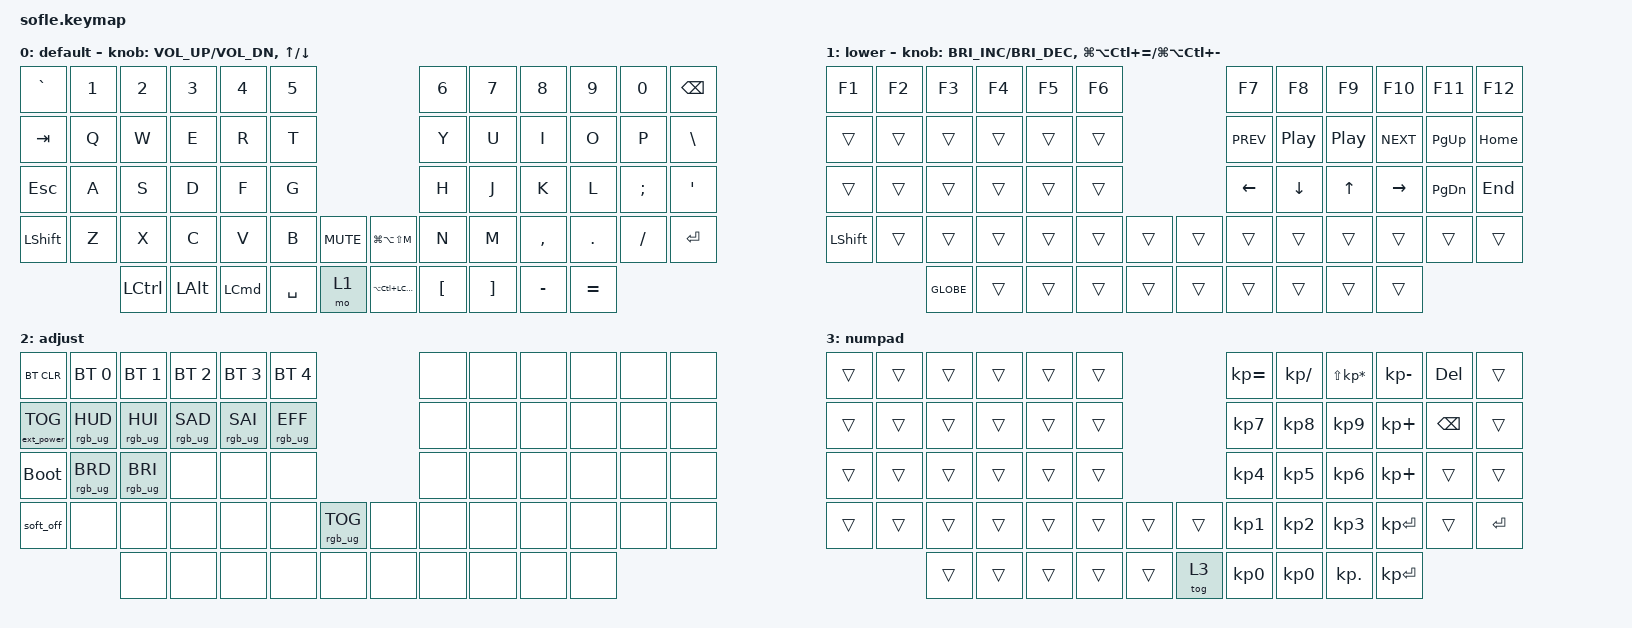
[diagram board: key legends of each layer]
/*
 * Copyright (c) 2020 The ZMK Contributors
 *
 * SPDX-License-Identifier: MIT
 */

#include <behaviors.dtsi>
#include <dt-bindings/zmk/bt.h>
#include <dt-bindings/zmk/ext_power.h>
#include <dt-bindings/zmk/keys.h>
#include <dt-bindings/zmk/rgb.h>

#define BASE 0
#define LOWER 1
#define RAISE 2
#define ADJUST 3

/ {
    // Activate ADJUST layer by pressing raise and lower

    conditional_layers { compatible = "zmk,conditional-layers"; };

    combos {
        compatible = "zmk,combos";

        adjust_layer {
            bindings = <&mo 2>;
            key-positions = <54 55>;
            layers = <0>;
        };

        numpad {
            bindings = <&tog 3>;
            key-positions = <55 10>;
        };
    };

    keymap {
        compatible = "zmk,keymap";

        default_layer {
            display-name = "default";

            // ------------------------------------------------------------------------------------------------------------
            // |   `   |  1  |  2  |  3   |  4   |  5   |                   |  6   |  7    |  8    |  9   |   0   |       |
            // |  ESC  |  Q  |  W  |  E   |  R   |  T   |                   |  Y   |  U    |  I    |  O   |   P   | BKSPC |
            // |  TAB  |  A  |  S  |  D   |  F   |  G   |                   |  H   |  J    |  K    |  L   |   ;   |   '   |
            // | SHIFT |  Z  |  X  |  C   |  V   |  B   |  MUTE  |  |       |  N   |  M    |  ,    |  .   |   /   | SHIFT |
            //               | GUI | ALT  | CTRL | LOWER|  ENTER |  | SPACE | RAISE| CTRL  | ALT   | GUI  |

            bindings = <
&kp GRAVE   &kp N1  &kp N2     &kp N3        &kp N4            &kp N5                                             &kp N6            &kp N7             &kp N8     &kp N9     &kp N0    &kp BACKSPACE
&kp TAB     &kp Q   &kp W      &kp E         &kp R             &kp T                                              &kp Y             &kp U              &kp I      &kp O      &kp P     &kp BACKSLASH
&kp ESCAPE  &kp A   &kp S      &kp D         &kp F             &kp G                                              &kp H             &kp J              &kp K      &kp L      &kp SEMI  &kp SQT
&kp LSHFT   &kp Z   &kp X      &kp C         &kp V             &kp B      &kp C_MUTE    &kp LG(LA(LS(M)))         &kp N             &kp M              &kp COMMA  &kp DOT    &kp FSLH  &kp RET
                    &kp LCTRL  &kp LEFT_ALT  &kp LEFT_COMMAND  &kp SPACE  &mo 1         &kp LA(LC(LEFT_COMMAND))  &kp LEFT_BRACKET  &kp RIGHT_BRACKET  &kp MINUS  &kp EQUAL
            >;

            sensor-bindings =
                <&inc_dec_kp C_VOL_UP C_VOL_DN>,
                <&inc_dec_kp UP_ARROW DOWN>;
        };

        lower_layer {
            display-name = "lower";

            // TODO: Some binds are waiting for shifted keycode support.
            // ------------------------------------------------------------------------------------------------------------
            // |       |  F1 |  F2 |  F3  |  F4  |  F5  |                   |  F6  |  F7   |  F8   |  F9  |  F10  |  F11  |
            // |   `   |  1  |  2  |  3   |  4   |  5   |                   |  6   |  7    |  8    |  9   |   0   |  F12  |
            // |       |  !  |  @  |  #   |  $   |  %   |                   |  ^   |  &    |  *    |  (   |   )   |   |   |
            // |       |  =  |  -  |  +   |  {   |  }   |        |  |       |  [   |  ]    |  ;    |  :   |   \   |       |
            //               |     |      |      |      |        |  |       |      |       |       |      |

            bindings = <
&kp F1          &kp F2  &kp F3     &kp F4  &kp F5  &kp F6                    &kp F7          &kp F8          &kp F9        &kp F10     &kp F11        &kp F12
&trans          &trans  &trans     &trans  &trans  &trans                    &kp C_PREV      &kp C_PP        &kp C_PP      &kp C_NEXT  &kp PAGE_UP    &kp HOME
&trans          &trans  &trans     &trans  &trans  &trans                    &kp LEFT_ARROW  &kp DOWN_ARROW  &kp UP_ARROW  &kp RIGHT   &kp PAGE_DOWN  &kp END
&kp LEFT_SHIFT  &trans  &trans     &trans  &trans  &trans  &trans    &trans  &trans          &trans          &trans        &trans      &trans         &trans
                        &kp GLOBE  &trans  &trans  &trans  &trans    &trans  &trans          &trans          &trans        &trans
            >;

            sensor-bindings =
                <&inc_dec_kp C_BRIGHTNESS_INC C_BRIGHTNESS_DEC>,
                <&inc_dec_kp LG(LA(LC(EQUAL))) LG(LA(LC(MINUS)))>;
        };

        adjust_layer {
            // ----------------------------------------------------------------------------------------------------------------------------
            // | BTCLR  |  BT1    |  BT2    |   BT3   |   BT4   |   BT5   |                  |      |      |       |      |       |       |
            // | EXTPWR | RGB_HUD | RGB_HUI | RGB_SAD | RGB_SAI | RGB_EFF |                  |      |      |       |      |       |       |
            // |        | RGB_BRD | RGB_BRI |         |         |         |                  |      |      |       |      |       |       |
            // |        |         |         |         |         |         | RGB_TOG | |      |      |      |       |      |       |       |
            //                    |         |         |         |         |         | |      |      |      |       |      |

            display-name = "adjust";
            bindings = <
&bt BT_CLR         &bt BT_SEL 0     &bt BT_SEL 1     &bt BT_SEL 2     &bt BT_SEL 3     &bt BT_SEL 4                               &none  &none  &none  &none  &none  &none
&ext_power EP_TOG  &rgb_ug RGB_HUD  &rgb_ug RGB_HUI  &rgb_ug RGB_SAD  &rgb_ug RGB_SAI  &rgb_ug RGB_EFF                            &none  &none  &none  &none  &none  &none
&bootloader        &rgb_ug RGB_BRD  &rgb_ug RGB_BRI  &none            &none            &none                                      &none  &none  &none  &none  &none  &none
&soft_off          &none            &none            &none            &none            &none            &rgb_ug RGB_TOG    &none  &none  &none  &none  &none  &none  &none
                                    &none            &none            &none            &none            &none              &none  &none  &none  &none  &none
            >;
        };

        numpad {
            bindings = <
&trans  &trans  &trans  &trans  &trans  &trans                    &kp KP_EQUAL     &kp KP_DIVIDE    &kp LS(KP_ASTERISK)  &kp KP_SUBTRACT  &kp DELETE     &trans
&trans  &trans  &trans  &trans  &trans  &trans                    &kp KP_NUMBER_7  &kp KP_NUMBER_8  &kp KP_NUMBER_9      &kp KP_PLUS      &kp BACKSPACE  &trans
&trans  &trans  &trans  &trans  &trans  &trans                    &kp KP_NUMBER_4  &kp KP_NUMBER_5  &kp KP_NUMBER_6      &kp KP_PLUS      &trans         &trans
&trans  &trans  &trans  &trans  &trans  &trans  &trans    &trans  &kp KP_NUMBER_1  &kp KP_NUMBER_2  &kp KP_NUMBER_3      &kp KP_ENTER     &trans         &kp RETURN
                &trans  &trans  &trans  &trans  &trans    &tog 3  &kp KP_NUMBER_0  &kp KP_NUMBER_0  &kp KP_DOT           &kp KP_ENTER
            >;

            label = "numpad";
        };
    };
};
